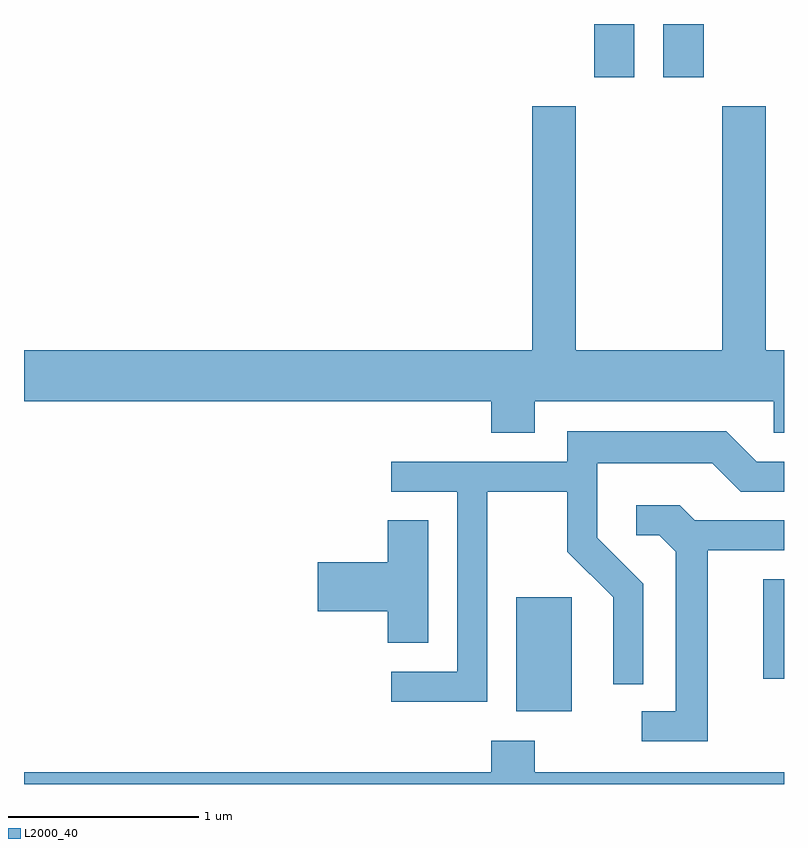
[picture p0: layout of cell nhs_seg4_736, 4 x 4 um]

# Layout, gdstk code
import gdstk
lib = gdstk.Library(unit=1e-6, precision=1e-09)
def R(c, l, rs):  # rectangles x0, y0, x1, y1
    for r in rs: c.add(gdstk.rectangle(r[:2], r[2:], *l))
def P(c, l, *ps):  # polygons
    for p in ps: c.add(gdstk.Polygon(p, *l))
L2000_40 = (2000, 40)

nhs_seg4_736 = lib.new_cell('nhs_seg4_736')
R(nhs_seg4_736, L2000_40, [(208.201,1366.366,208.494,1366.964), (209.501,1366.536,209.611,1367.059), (208.611,1369.701,208.824,1369.982), (208.976,1369.701,209.189,1369.982)])
P(nhs_seg4_736, L2000_40, [(208.299,1367.996),(209.556,1367.996),(209.556,1367.831),(209.611,1367.831),(209.611,1368.264),(209.514,1368.264),(209.514,1369.549),(209.286,1369.549),(209.286,1368.264),(208.514,1368.264),(208.514,1369.549),(208.286,1369.549),(208.286,1368.264),(205.611,1368.264),(205.611,1367.996),(208.071,1367.996),(208.071,1367.831),(208.299,1367.831)],
  [(208.049,1367.521),(208.471,1367.521),(208.471,1367.204),(208.711,1366.964),(208.711,1366.508),(208.869,1366.508),(208.869,1367.037),(208.629,1367.277),(208.629,1367.671),(209.234,1367.671),(209.384,1367.521),(209.611,1367.521),(209.611,1367.679),(209.467,1367.679),(209.307,1367.839),(208.471,1367.839),(208.471,1367.679),(207.543,1367.679),(207.543,1367.521),(207.891,1367.521),(207.891,1366.574),(207.543,1366.574),(207.543,1366.416),(208.049,1366.416)],
  [(209.209,1367.211),(209.611,1367.211),(209.611,1367.369),(209.142,1367.369),(209.062,1367.449),(208.833,1367.449),(208.833,1367.291),(208.954,1367.291),(209.041,1367.204),(209.041,1366.364),(208.863,1366.364),(208.863,1366.206),(209.209,1366.206)],
  [(207.739,1367.369),(207.526,1367.369),(207.526,1367.149),(207.156,1367.149),(207.156,1366.891),(207.526,1366.891),(207.526,1366.726),(207.739,1366.726)],
  [(209.611,1366.044),(208.299,1366.044),(208.299,1366.209),(208.071,1366.209),(208.071,1366.044),(205.611,1366.044),(205.611,1365.982),(209.611,1365.982)])

lib.write_gds('nhs_seg4_736.gds')
